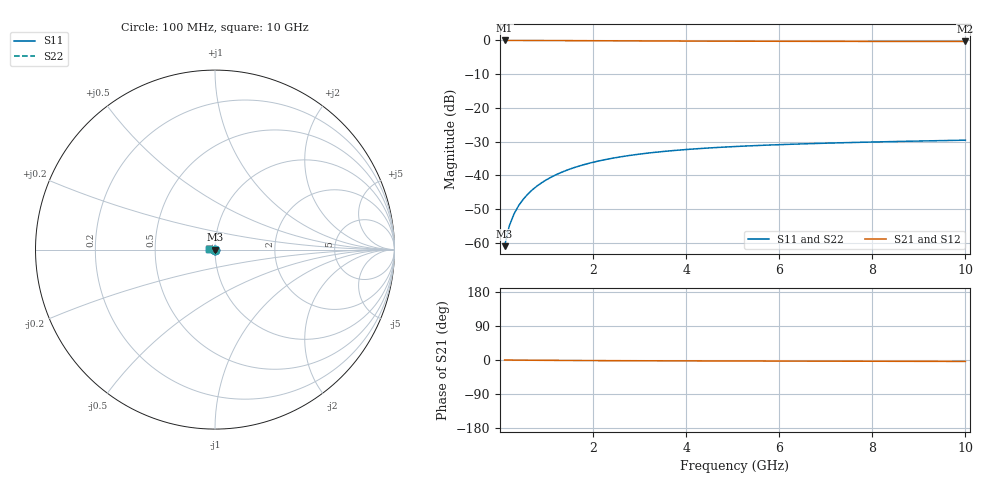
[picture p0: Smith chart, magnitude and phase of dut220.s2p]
! Touchstone file exported from HFSS 2024.1.0
!  File:  C:/UserFiles/LocalFiles/RDL_TSV_Batchsim/temp_TSV1_220_1779387643.aedt
!  Generated:  02:26:59 AM May 22, 2026
!  Design:  TSV1
!  Project:  temp_TSV1_220_1779387643
!  Setup:  Setup1
!  Solution:  Sweep
! Variables:
!  dtsv = 10.29um
!  hbump = 3um
!  htsv = 55.93um
!  lrdl = 252.1521522um
!  p = 40
!  p1 = 49.11um
!  t = 500um
!  trdl = 3um
!  wrdl = 24.89489489um
# GHz S MA R 50.000000
! Terminal data exported
! Port[1] = TSV22_T1
! Port[2] = TSV22_T2
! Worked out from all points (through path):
!   100 points, 100 MHz to 10 GHz, reference 50 ohm
!   highest |S21| = 0.00 dB at 100 MHz (marker M1); lowest = -0.3 dB at 10 GHz (marker M2)
!   lowest |S11| = -61.0 dB at 100 MHz (marker M3), VSWR 1.00, Z = 50 - j0.0887 ohm
!   |S11| at or under -10 dB: start of sweep to end of sweep
!   |S22| runs from -61.0 to -29.6 dB; largest |S21 - S12| = 1.1e-14
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0.1  0.0008909 -84.6  0.9999 -0.1  0.9999 -0.1  0.0008909 -84.6
! Gamma 0 0 0 0
! Port Impedance 50 0 50 0
0.2  0.001774 -89.8  0.9998 -0.2  0.9998 -0.2  0.001774 -89.8
0.3  0.00266 -92.8  0.9996 -0.3  0.9996 -0.3  0.00266 -92.8
0.4  0.003542 -95.2  0.9994 -0.4  0.9994 -0.4  0.003542 -95.2
0.5  0.004417 -97.4  0.9991 -0.4  0.9991 -0.4  0.004417 -97.4
0.6  0.005282 -99.4  0.9988 -0.5  0.9988 -0.5  0.005282 -99.4
0.7  0.006135 -101.4  0.9985 -0.6  0.9985 -0.6  0.006135 -101.4
0.8  0.006975 -103.3  0.998 -0.7  0.998 -0.7  0.006975 -103.3
0.9  0.007799 -105.2  0.9976 -0.8  0.9976 -0.8  0.007799 -105.2
1.1  0.009398 -108.8  0.9966 -0.9  0.9966 -0.9  0.009398 -108.8
1.4  0.01165 -113.9  0.9949 -1.2  0.9949 -1.2  0.01165 -113.9
1.6  0.01306 -117.2  0.9937 -1.3  0.9937 -1.3  0.01306 -117.2
1.8  0.01438 -120.3  0.9924 -1.4  0.9924 -1.4  0.01438 -120.3
2.1  0.0162 -124.7  0.9904 -1.6  0.9904 -1.6  0.0162 -124.7
2.5  0.01836 -130.1  0.9878 -1.8  0.9878 -1.8  0.01836 -130.1
2.9  0.02022 -135.0  0.9853 -1.9  0.9853 -1.9  0.02022 -135.0
3.4  0.02219 -140.6  0.9824 -2.1  0.9824 -2.1  0.02219 -140.6
4.2  0.0247 -148.3  0.9785 -2.4  0.9785 -2.4  0.0247 -148.3
5.1  0.02684 -155.6  0.975 -2.6  0.975 -2.6  0.02684 -155.6
6.7  0.02956 -166.1  0.9705 -3.0  0.9705 -3.0  0.02956 -166.1
8.4  0.03163 -175.0  0.9673 -3.4  0.9673 -3.4  0.03163 -175.0
10  0.03321 178.1  0.9653 -3.8  0.9653 -3.8  0.03321 178.1
